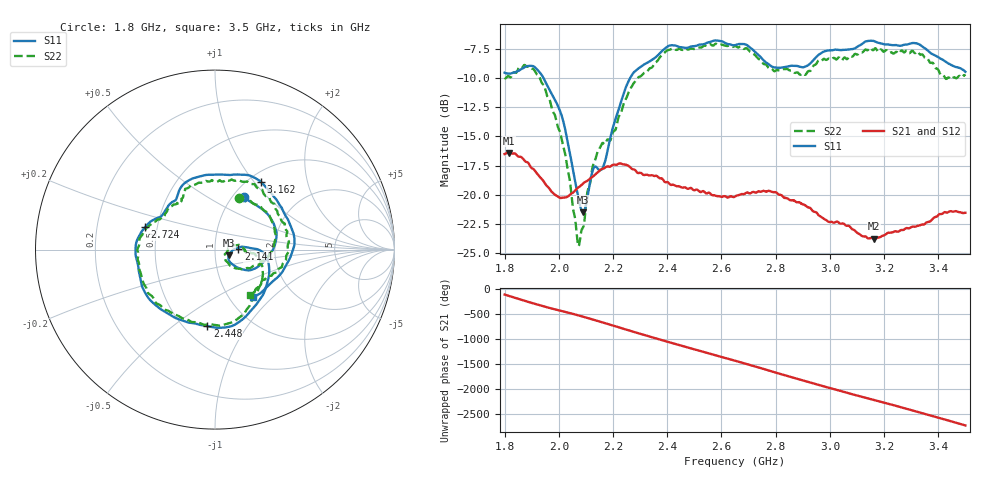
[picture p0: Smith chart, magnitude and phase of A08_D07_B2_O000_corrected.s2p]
! Created with skrf 1.9.0 (http://scikit-rf.org).
# Hz S RI R 50.0
!freq ReS11 ImS11 ReS21 ImS21 ReS12 ImS12 ReS22 ImS22
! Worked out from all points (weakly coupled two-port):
!   1601 points, 1.8 GHz to 3.5 GHz, reference 50 ohm
!   highest |S21| = -16.40 dB at 1.816 GHz (marker M1); lowest = -23.8 dB at 3.163 GHz (marker M2)
!   lowest |S11| = -21.5 dB at 2.09 GHz (marker M3), VSWR 1.18, Z = 58.3 - j3.67 ohm
!   |S11| at or under -10 dB: 1.944 GHz to 2.263 GHz (319 MHz wide, 15.2 % of centre)
!   |S22| runs from -24.4 to -7.0 dB; largest |S21 - S12| = 0.003
!   S11 on the Smith chart (normalised r, x): 1.8 GHz: 1.12, +0.74; 2.141 GHz: 1.30, +0.01; 2.448 GHz: 0.64, -0.67; 2.724 GHz: 0.43, +0.13; 3.162 GHz: 1.14, +1.09; 3.5 GHz: 1.28, -0.76
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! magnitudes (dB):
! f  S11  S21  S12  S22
! 1.8 GHz  -9.5  -16.5  -16.5  -10.0
! 1.816 GHz  -9.6  -16.4  -16.4  -9.8
! 1.88 GHz  -9.0  -17.2  -17.2  -9.0
! 1.942 GHz  -9.9  -18.8  -18.8  -10.5
! 2.013 GHz  -13.4  -20.3  -20.3  -15.5
! 2.069 GHz  -19.9  -19.4  -19.4  -24.0
! 2.084 GHz  -21.3  -19.2  -19.1  -23.0
! 2.09 GHz  -21.5  -19.0  -19.1  -22.8
! 2.141 GHz  -17.7  -18.1  -18.1  -16.4
! 2.167 GHz  -17.4  -17.7  -17.7  -15.6
! 2.263 GHz  -10.0  -17.6  -17.6  -10.9
! 2.367 GHz  -8.0  -18.5  -18.4  -8.4
! 2.448 GHz  -7.4  -19.3  -19.3  -7.5
! 2.65 GHz  -7.2  -20.1  -20.1  -7.3
! 2.724 GHz  -7.8  -19.8  -19.8  -8.0
! 2.798 GHz  -9.1  -19.8  -19.8  -9.4
! 2.934 GHz  -8.6  -21.3  -21.3  -9.2
! 3.162 GHz  -6.8  -23.8  -23.7  -7.6
! 3.163 GHz  -6.8  -23.8  -23.7  -7.5
! 3.217 GHz  -7.1  -23.2  -23.2  -7.8
! 3.324 GHz  -7.0  -22.7  -22.6  -7.7
! 3.5 GHz  -9.5  -21.5  -21.5  -9.8
